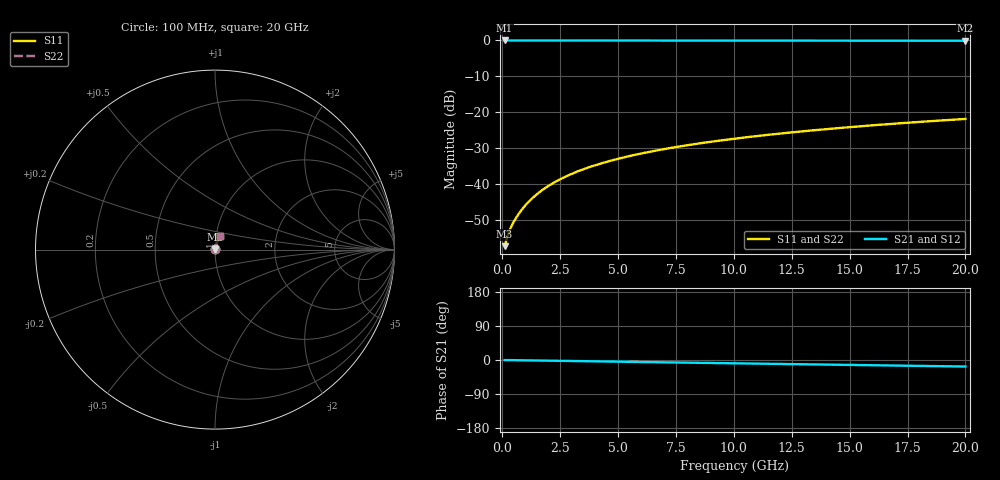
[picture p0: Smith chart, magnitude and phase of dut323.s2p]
! Touchstone file exported from HFSS 2026.1.0
!  File:  C:/ffzhzh/LocalFiles/Ansys_Project_Files/temp_train_BSMRDL_323_1783010861_55676.aedt
!  Generated:  12:49:00 AM Jul  3, 2026
!  Design:  BSMRDL
!  Project:  temp_train_BSMRDL_323_1783010861_55676
! Variables:
!  h_bsmrdl = 4.11um
!  h_ox = 20um
!  h_rdl = 5um
!  h_sub = 80um
!  h_tmrdl = 5um
!  h_tsv = 80um
!  h_via = 3um
!  l_bsmrdl = 278.56um
!  l_sub = 678.56um
!  l_tmrdl = 200um
!  m_sub = 200um
!  pitch = 33.75um
!  r_tsv = 6um
!  s_tmrdl = 10um
!  w_bsmrdl = 24.25um
!  w_sub = 500um
!  w_tmrdl = 12um
!  x_tsv_center1 = 206um
!  x_tsv_center2 = 508.81um
!  x_tsv_center3 = 720.81um
!  x_tsv_center4 = 1023.62um
!  x_tsv_center5 = 1235.62um
!  x_tsv_center6 = 1538.43um
# GHz S MA R 50.000000
! Terminal data exported
! Port[1] = BSM_RDL1_1_T1
! Port[2] = BSM_RDL1_1_T2
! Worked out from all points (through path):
!   200 points, 100 MHz to 20 GHz, reference 50 ohm
!   highest |S21| = -0.01 dB at 100 MHz (marker M1); lowest = -0.1 dB at 20 GHz (marker M2)
!   group delay of S21, straight-line fit = 2.39 ps
!   lowest |S11| = -57.3 dB at 100 MHz (marker M3), VSWR 1.00, Z = 50.1 + j0.0632 ohm
!   |S11| at or under -10 dB: start of sweep to end of sweep
!   |S22| runs from -57.3 to -21.9 dB; largest |S21 - S12| = 3.1e-15
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0.1  0.00137 27.4  0.9988 -0.1  0.9988 -0.1  0.00137 27.4
! Gamma 0 0 0 0
! Port Impedance 50 0 50 0
0.2  0.001785 41.4  0.9987 -0.2  0.9987 -0.2  0.001785 41.4
0.3  0.002206 48.8  0.9986 -0.3  0.9986 -0.3  0.002206 48.8
0.4  0.00261 53.8  0.9985 -0.4  0.9985 -0.4  0.00261 53.8
0.5  0.003009 57.8  0.9984 -0.5  0.9984 -0.5  0.003009 57.8
0.6  0.003411 60.9  0.9984 -0.5  0.9984 -0.5  0.003411 60.9
0.8  0.004235 65.8  0.9983 -0.7  0.9983 -0.7  0.004235 65.8
1  0.005084 69.1  0.9982 -0.9  0.9982 -0.9  0.005084 69.1
1.2  0.005951 71.5  0.9982 -1.1  0.9982 -1.1  0.005951 71.5
1.4  0.006828 73.2  0.9981 -1.3  0.9981 -1.3  0.006828 73.2
1.7  0.008157 75.0  0.9981 -1.5  0.9981 -1.5  0.008157 75.0
2.2  0.01038 76.7  0.9979 -2.0  0.9979 -2.0  0.01038 76.7
2.8  0.01304 77.6  0.9977 -2.5  0.9977 -2.5  0.01304 77.6
3.5  0.01611 78.0  0.9974 -3.1  0.9974 -3.1  0.01611 78.0
4.2  0.01913 78.0  0.9971 -3.7  0.9971 -3.7  0.01913 78.0
5  0.02253 77.7  0.9967 -4.4  0.9967 -4.4  0.02253 77.7
6.8  0.02999 76.8  0.9958 -6.0  0.9958 -6.0  0.02999 76.8
8.3  0.03604 75.9  0.9951 -7.3  0.9951 -7.3  0.03604 75.9
10.1  0.04318 74.8  0.9943 -8.8  0.9943 -8.8  0.04318 74.8
13.4  0.05599 72.6  0.9928 -11.6  0.9928 -11.6  0.05599 72.6
16.7  0.06853 70.3  0.9913 -14.4  0.9913 -14.4  0.06854 70.3
20  0.08081 67.9  0.9898 -17.2  0.9898 -17.2  0.08081 67.9
